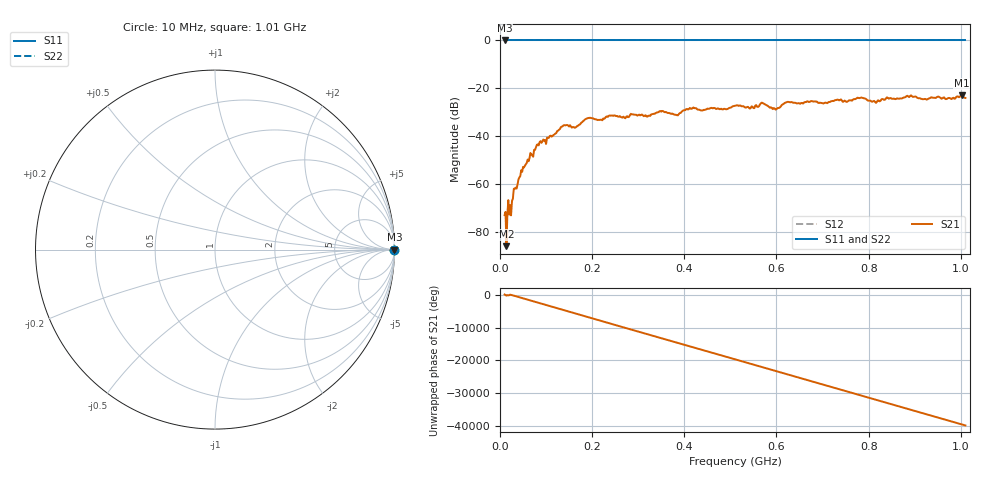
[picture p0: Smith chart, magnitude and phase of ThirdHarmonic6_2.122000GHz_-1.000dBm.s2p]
! 8/17/2025 1:22:10 AM
! C:\ANRITSUVNA\TEMP\TEMP.S2P
! CHANNEL.1
! TR.MEASUREMENT
! RAW.DATA
! RF.CORRECTION.OFF
! AVERAGING.OFF
! IF.BANDWIDTH: 5KHZ
! SWEEPTYPE:  FREQ.SWEEP(Linear)
! Reference Plane Port Info
! PORT:  PORT1  PORT2
! DISTANCE:  0  m  0  m
! TIME:  0  s  0  s
! PHASE.OFFSET:  0  deg.  0  deg.
! LOSS:  0  dB  0  dB
! REF.LOSS:  0  dB  0  dB
! REF.FREQ:  0  Hz  0  Hz
! Power Info
! POWER:  -20  dBm  -20  dBm
! EFF.POWER:  -20  dBm  -20  dBm
! SOURCE.ATTEN:  0  dB  0  dB
! TEST.ATTEN:  0  dB  0  dB
# GHZ S RI R 50.0
! FREQ.GHZ  S11RE  S11IM  S21RE  S21IM  S12RE  S12IM  S22RE  S22IM
!; PortSelection: Port_12
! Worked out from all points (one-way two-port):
!   501 points, 10 MHz to 1.01 GHz, reference 50 ohm
!   highest |S21| = -22.89 dB at 1.002 GHz (marker M1); lowest = -85.8 dB at 14 MHz (marker M2)
!   lowest |S11| = 0.0 dB at 10 MHz (marker M3)
!   |S11| at or under -10 dB: nowhere
!   |S22| runs from 0.0 to 0.0 dB; largest |S21 - S12| = 1.1
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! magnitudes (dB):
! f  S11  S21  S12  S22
! 10 MHz  0.0  -72.8  0.0  0.0
! 14 MHz  0.0  -85.8  0.0  0.0
! 24 MHz  0.0  -72.9  0.0  0.0
! 30 MHz  0.0  -61.8  0.0  0.0
! 50 MHz  0.0  -52.7  0.0  0.0
! 84 MHz  0.0  -43.7  0.0  0.0
! 136 MHz  0.0  -35.7  0.0  0.0
! 162 MHz  0.0  -36.4  0.0  0.0
! 178 MHz  0.0  -34.1  0.0  0.0
! 192 MHz  0.0  -32.3  0.0  0.0
! 322 MHz  0.0  -31.4  0.0  0.0
! 344 MHz  0.0  -29.9  0.0  0.0
! 382 MHz  0.0  -31.0  0.0  0.0
! 416 MHz  0.0  -28.5  0.0  0.0
! 510 MHz  0.0  -27.2  0.0  0.0
! 570 MHz  0.0  -26.1  0.0  0.0
! 596 MHz  0.0  -28.4  0.0  0.0
! 622 MHz  0.0  -25.7  0.0  0.0
! 678 MHz  0.0  -25.3  0.0  0.0
! 844 MHz  0.0  -24.3  0.0  0.0
! 1.002 GHz  0.0  -22.9  0.0  0.0
! 1.01 GHz  0.0  -24.0  0.0  0.0
